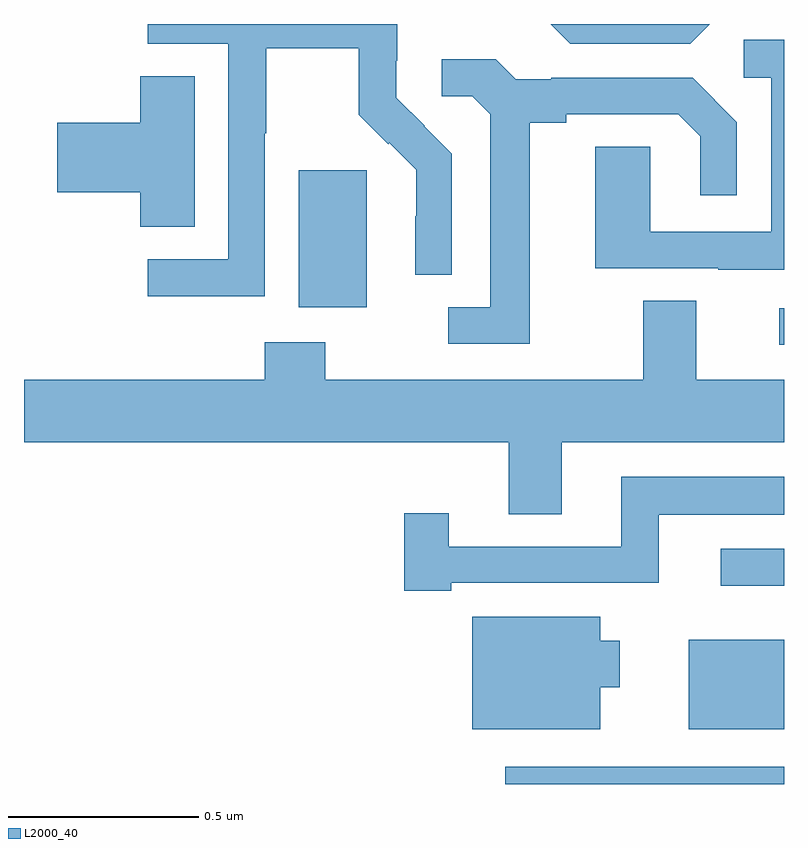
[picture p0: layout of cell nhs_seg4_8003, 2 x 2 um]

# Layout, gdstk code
import gdstk
lib = gdstk.Library(unit=1e-6, precision=1e-09)
def R(c, l, rs):  # rectangles x0, y0, x1, y1
    for r in rs: c.add(gdstk.rectangle(r[:2], r[2:], *l))
def P(c, l, *ps):  # polygons
    for p in ps: c.add(gdstk.Polygon(p, *l))
L2000_40 = (2000, 40)

nhs_seg4_8003 = lib.new_cell('nhs_seg4_8003')
R(nhs_seg4_8003, L2000_40, [(210.267,815.9,211,815.946), (210.749,816.044,211,816.28), (210.834,816.422,211,816.519), (210.987,817.056,211,817.152), (209.723,817.154,209.902,817.515)])
P(nhs_seg4_8003, L2000_40, [(209.634,817.612),(209.637,817.612),(209.637,817.836),(209.881,817.836),(209.881,817.661),(209.958,817.584),(209.961,817.587),(210.032,817.517),(210.032,817.394),(210.03,817.394),(210.03,817.24),(210.126,817.24),(210.126,817.558),(210.053,817.631),(210.054,817.632),(209.98,817.706),(209.98,817.803),(209.982,817.803),(209.982,817.9),(209.325,817.9),(209.325,817.848),(209.538,817.848),(209.538,817.281),(209.325,817.281),(209.325,817.183),(209.634,817.183)],
  [(210.805,817.9),(210.386,817.9),(210.438,817.848),(210.753,817.848)],
  [(211,817.859),(210.894,817.859),(210.894,817.758),(210.966,817.758),(210.966,817.353),(210.648,817.353),(210.648,817.577),(210.503,817.577),(210.503,817.257),(210.827,817.257),(210.827,817.253),(211,817.253)],
  [(210.331,817.64),(210.427,817.64),(210.427,817.662),(210.722,817.662),(210.779,817.605),(210.779,817.449),(210.876,817.449),(210.876,817.642),(210.76,817.758),(210.388,817.758),(210.388,817.755),(210.294,817.755),(210.242,817.807),(210.099,817.807),(210.099,817.71),(210.18,817.71),(210.227,817.663),(210.227,817.155),(210.117,817.155),(210.117,817.059),(210.331,817.059)],
  [(209.449,817.763),(209.306,817.763),(209.306,817.64),(209.088,817.64),(209.088,817.457),(209.306,817.457),(209.306,817.366),(209.449,817.366)],
  [(210.415,816.8),(211,816.8),(211,816.964),(210.769,816.964),(210.769,817.172),(210.629,817.172),(210.629,816.964),(209.793,816.964),(209.793,817.063),(209.633,817.063),(209.633,816.964),(209,816.964),(209,816.8),(210.275,816.8),(210.275,816.61),(210.415,816.61)],
  [(210.124,816.429),(210.67,816.429),(210.67,816.608),(211,816.608),(211,816.709),(210.572,816.709),(210.572,816.525),(210.118,816.525),(210.118,816.613),(210.001,816.613),(210.001,816.409),(210.124,816.409)],
  [(210.517,816.155),(210.568,816.155),(210.568,816.277),(210.517,816.277),(210.517,816.34),(210.179,816.34),(210.179,816.044),(210.517,816.044)])

lib.write_gds('nhs_seg4_8003.gds')
